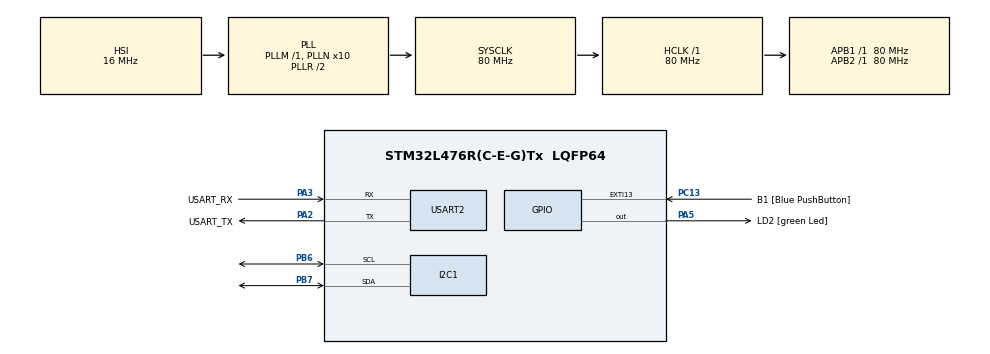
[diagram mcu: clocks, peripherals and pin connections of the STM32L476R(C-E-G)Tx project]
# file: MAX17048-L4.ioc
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I2C1.Timing=0x10D19CE4
Mcu.Family=STM32L4
Mcu.Name=STM32L476R(C-E-G)Tx
Mcu.Package=LQFP64
NVIC.PriorityGroup=NVIC_PRIORITYGROUP_4
PA13\ (JTMS-SWDIO).GPIO_Label=TMS
PA13\ (JTMS-SWDIO).Mode=Serial_Wire
PA13\ (JTMS-SWDIO).Signal=SYS_JTMS-SWDIO
PA14\ (JTCK-SWCLK).GPIO_Label=TCK
PA14\ (JTCK-SWCLK).Mode=Serial_Wire
PA14\ (JTCK-SWCLK).Signal=SYS_JTCK-SWCLK
PA2.GPIO_Label=USART_TX
PA2.GPIO_Mode=GPIO_MODE_AF_PP
PA2.GPIO_PuPd=GPIO_NOPULL
PA2.GPIO_Speed=GPIO_SPEED_FREQ_VERY_HIGH
PA2.Mode=Asynchronous
PA2.Signal=USART2_TX
PA3.GPIO_Label=USART_RX
PA3.GPIO_Mode=GPIO_MODE_AF_PP
PA3.GPIO_PuPd=GPIO_NOPULL
PA3.GPIO_Speed=GPIO_SPEED_FREQ_VERY_HIGH
PA3.Mode=Asynchronous
PA3.Signal=USART2_RX
PA5.GPIO_Label=LD2 [green Led]
PA5.GPIO_ModeDefaultOutputPP=GPIO_MODE_OUTPUT_PP
PA5.GPIO_PuPd=GPIO_NOPULL
PA5.GPIO_Speed=GPIO_SPEED_FREQ_LOW
PA5.Signal=GPIO_Output
PB3\ (JTDO-TRACESWO).GPIO_Label=SWO
PB3\ (JTDO-TRACESWO).Signal=SYS_JTDO-SWO
PB6.Mode=I2C
PB6.Signal=I2C1_SCL
PB7.Mode=I2C
PB7.Signal=I2C1_SDA
PC13.GPIO_Label=B1 [Blue PushButton]
PC13.GPIO_ModeDefaultEXTI=GPIO_MODE_IT_FALLING
PC13.GPIO_PuPd=GPIO_NOPULL
PC13.Signal=GPXTI13
PC14-OSC32_IN\ (PC14).Mode=LSE-External-Oscillator
PC14-OSC32_IN\ (PC14).Signal=RCC_OSC32_IN
PC15-OSC32_OUT\ (PC15).Mode=LSE-External-Oscillator
PC15-OSC32_OUT\ (PC15).Signal=RCC_OSC32_OUT
PH0-OSC_IN\ (PH0).Signal=RCC_OSC_IN
PH1-OSC_OUT\ (PH1).Signal=RCC_OSC_OUT
ProjectManager.HeapSize=0x200
ProjectManager.StackSize=0x400
ProjectManager.TargetToolchain=CMake
RCC.ADCFreq_Value=64000000
RCC.AHBFreq_Value=80000000
RCC.APB1Freq_Value=80000000
RCC.APB1TimFreq_Value=80000000
RCC.APB2Freq_Value=80000000
RCC.APB2TimFreq_Value=80000000
RCC.CortexFreq_Value=80000000
RCC.HCLKFreq_Value=80000000
RCC.HSE_VALUE=8000000
RCC.HSI_VALUE=16000000
RCC.MSI_VALUE=4000000
RCC.PLLN=10
RCC.PLLSourceVirtual=RCC_PLLSOURCE_HSI
RCC.PREFETCH_ENABLE=1
RCC.SYSCLKFreq_VALUE=80000000
RCC.SYSCLKSource=RCC_SYSCLKSOURCE_PLLCLK
RCC.USBFreq_Value=64000000
RCC.VCOOutputFreq_Value=160000000
USART2.VirtualMode-Asynchronous=VM_ASYNC
board=NUCLEO-L476RG

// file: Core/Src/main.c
/* USER CODE BEGIN Header */
/**
  ******************************************************************************
  * @file           : main.c
  * @brief          : Main program body
  ******************************************************************************
  * @attention
  *
  * Copyright (c) 2026 STMicroelectronics.
  * All rights reserved.
  *
  * This software is licensed under terms that can be found in the LICENSE file
  * in the root directory of this software component.
  * If no LICENSE file comes with this software, it is provided AS-IS.
  *
  ******************************************************************************
  */
/* USER CODE END Header */
#include "main.h"

/* USER CODE BEGIN Includes */
#include "max17048.h"
#include <stdio.h>
/* USER CODE END Includes */

I2C_HandleTypeDef hi2c1;

UART_HandleTypeDef huart2;

void SystemClock_Config(void);
static void MX_GPIO_Init(void);
static void MX_USART2_UART_Init(void);
static void MX_I2C1_Init(void);

int main(void)
{

  /* MCU Configuration--------------------------------------------------------*/

  /* Reset of all peripherals, Initializes the Flash interface and the Systick. */
  HAL_Init();

  /* Configure the system clock */
  SystemClock_Config();

  /* Initialize all configured peripherals */
  MX_GPIO_Init();
  MX_USART2_UART_Init();
  MX_I2C1_Init();

  /* Infinite loop */
  /* USER CODE BEGIN WHILE */
  MAX17048_HandleTypeDef max17048;
  float soc = 0.0f; //Carga -> SOC State of Charge
  float vbat = 0.0f; //Tensao da bateria

  while (1)
  {
    HAL_Delay(100);
    if(HAL_I2C_IsDeviceReady(&hi2c1, MAX17048_I2C_ADDR_8BIT, 10, 1000) == HAL_OK) {
      printf("MAX17048 is ready!\r\n");
    } else {
       printf("MAX17048 is not ready!\r\n");

       // faz scan i2c
        printf("Scan I2C...\r\n");
        for (uint8_t a = 1; a < 128; a++) {
          if (HAL_I2C_IsDeviceReady(&hi2c1, a << 1, 2, 10) == HAL_OK) {
            printf("achou 0x%02X\r\n", a);
          }
}
printf("Fim do scan\r\n");
       continue;
    }

    HAL_Delay(100);

    if(MAX17048_Init(&max17048, &hi2c1) != HAL_OK) {
        printf("Failed to initialize MAX17048 handle!\r\n");
        continue;
    } else {
        printf("MAX17048 handle initialized successfully!\r\n");
    }

    HAL_Delay(100);

    while(1) {

        if(MAX17048_GetSOC(&max17048, &soc) != HAL_OK) {
            printf("Failed to read SOC!\r\n");
        } else {
            printf("SOC: %.2f%%\r\n", soc);
        }

        if(MAX17048_GetVoltage(&max17048, &vbat) != HAL_OK) {
            printf("Failed to read voltage!\r\n");
        } else {
            printf("Voltage: %.3f V\r\n", vbat);
        }

        HAL_Delay(1000);
    }

    /* USER CODE END WHILE */

  }
}

void SystemClock_Config(void)
{
  RCC_OscInitTypeDef RCC_OscInitStruct = {0};
  RCC_ClkInitTypeDef RCC_ClkInitStruct = {0};

  /** Configure the main internal regulator output voltage
  */
  if (HAL_PWREx_ControlVoltageScaling(PWR_REGULATOR_VOLTAGE_SCALE1) != HAL_OK)
  {
    Error_Handler();
  }

  /** Initializes the RCC Oscillators according to the specified parameters
  * in the RCC_OscInitTypeDef structure.
  */
  RCC_OscInitStruct.OscillatorType = RCC_OSCILLATORTYPE_HSI;
  RCC_OscInitStruct.HSIState = RCC_HSI_ON;
  RCC_OscInitStruct.HSICalibrationValue = RCC_HSICALIBRATION_DEFAULT;
  RCC_OscInitStruct.PLL.PLLState = RCC_PLL_ON;
  RCC_OscInitStruct.PLL.PLLSource = RCC_PLLSOURCE_HSI;
  RCC_OscInitStruct.PLL.PLLM = 1;
  RCC_OscInitStruct.PLL.PLLN = 10;
  RCC_OscInitStruct.PLL.PLLP = RCC_PLLP_DIV7;
  RCC_OscInitStruct.PLL.PLLQ = RCC_PLLQ_DIV2;
  RCC_OscInitStruct.PLL.PLLR = RCC_PLLR_DIV2;
  if (HAL_RCC_OscConfig(&RCC_OscInitStruct) != HAL_OK)
  {
    Error_Handler();
  }

  /** Initializes the CPU, AHB and APB buses clocks
  */
  RCC_ClkInitStruct.ClockType = RCC_CLOCKTYPE_HCLK|RCC_CLOCKTYPE_SYSCLK
                              |RCC_CLOCKTYPE_PCLK1|RCC_CLOCKTYPE_PCLK2;
  RCC_ClkInitStruct.SYSCLKSource = RCC_SYSCLKSOURCE_PLLCLK;
  RCC_ClkInitStruct.AHBCLKDivider = RCC_SYSCLK_DIV1;
  RCC_ClkInitStruct.APB1CLKDivider = RCC_HCLK_DIV1;
  RCC_ClkInitStruct.APB2CLKDivider = RCC_HCLK_DIV1;

  if (HAL_RCC_ClockConfig(&RCC_ClkInitStruct, FLASH_LATENCY_4) != HAL_OK)
  {
    Error_Handler();
  }
}

static void MX_I2C1_Init(void)
{

  hi2c1.Instance = I2C1;
  hi2c1.Init.Timing = 0x10D19CE4;
  hi2c1.Init.OwnAddress1 = 0;
  hi2c1.Init.AddressingMode = I2C_ADDRESSINGMODE_7BIT;
  hi2c1.Init.DualAddressMode = I2C_DUALADDRESS_DISABLE;
  hi2c1.Init.OwnAddress2 = 0;
  hi2c1.Init.OwnAddress2Masks = I2C_OA2_NOMASK;
  hi2c1.Init.GeneralCallMode = I2C_GENERALCALL_DISABLE;
  hi2c1.Init.NoStretchMode = I2C_NOSTRETCH_DISABLE;
  if (HAL_I2C_Init(&hi2c1) != HAL_OK)
  {
    Error_Handler();
  }

  /** Configure Analogue filter
  */
  if (HAL_I2CEx_ConfigAnalogFilter(&hi2c1, I2C_ANALOGFILTER_ENABLE) != HAL_OK)
  {
    Error_Handler();
  }

  /** Configure Digital filter
  */
  if (HAL_I2CEx_ConfigDigitalFilter(&hi2c1, 0) != HAL_OK)
  {
    Error_Handler();
  }

}

static void MX_USART2_UART_Init(void)
{

  huart2.Instance = USART2;
  huart2.Init.BaudRate = 115200;
  huart2.Init.WordLength = UART_WORDLENGTH_8B;
  huart2.Init.StopBits = UART_STOPBITS_1;
  huart2.Init.Parity = UART_PARITY_NONE;
  huart2.Init.Mode = UART_MODE_TX_RX;
  huart2.Init.HwFlowCtl = UART_HWCONTROL_NONE;
  huart2.Init.OverSampling = UART_OVERSAMPLING_16;
  huart2.Init.OneBitSampling = UART_ONE_BIT_SAMPLE_DISABLE;
  huart2.AdvancedInit.AdvFeatureInit = UART_ADVFEATURE_NO_INIT;
  if (HAL_UART_Init(&huart2) != HAL_OK)
  {
    Error_Handler();
  }

}

static void MX_GPIO_Init(void)
{
  GPIO_InitTypeDef GPIO_InitStruct = {0};

  /* GPIO Ports Clock Enable */
  __HAL_RCC_GPIOC_CLK_ENABLE();
  __HAL_RCC_GPIOH_CLK_ENABLE();
  __HAL_RCC_GPIOA_CLK_ENABLE();
  __HAL_RCC_GPIOB_CLK_ENABLE();

  /*Configure GPIO pin Output Level */
  HAL_GPIO_WritePin(LD2_GPIO_Port, LD2_Pin, GPIO_PIN_RESET);

  /*Configure GPIO pin : B1_Pin */
  GPIO_InitStruct.Pin = B1_Pin;
  GPIO_InitStruct.Mode = GPIO_MODE_IT_FALLING;
  GPIO_InitStruct.Pull = GPIO_NOPULL;
  HAL_GPIO_Init(B1_GPIO_Port, &GPIO_InitStruct);

  /*Configure GPIO pin : LD2_Pin */
  GPIO_InitStruct.Pin = LD2_Pin;
  GPIO_InitStruct.Mode = GPIO_MODE_OUTPUT_PP;
  GPIO_InitStruct.Pull = GPIO_NOPULL;
  GPIO_InitStruct.Speed = GPIO_SPEED_FREQ_LOW;
  HAL_GPIO_Init(LD2_GPIO_Port, &GPIO_InitStruct);

}

/* USER CODE BEGIN 4 */
int __io_putchar(int ch) {
    HAL_UART_Transmit(&huart2, (uint8_t *)&ch, 1, HAL_MAX_DELAY);
    return ch;
}
/* USER CODE END 4 */

void Error_Handler(void)
{
  __disable_irq();
  while (1)
  {
  }
}
